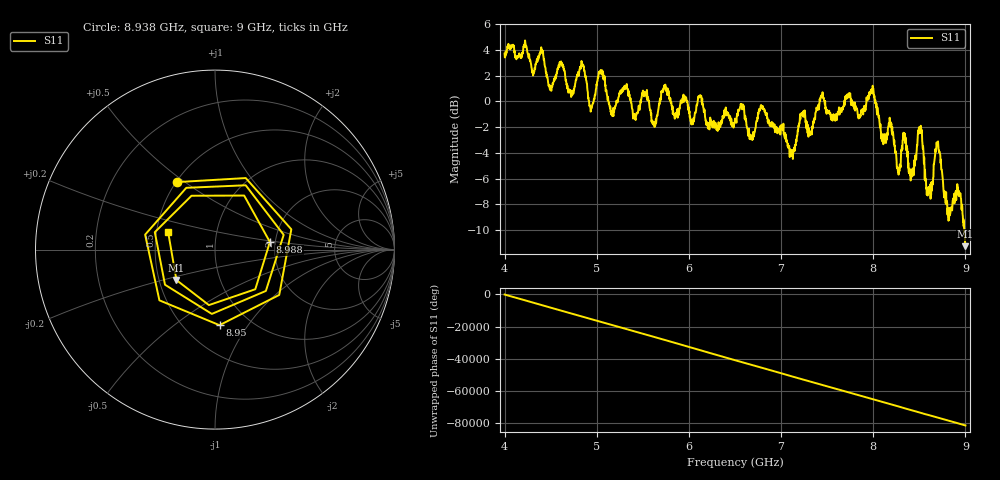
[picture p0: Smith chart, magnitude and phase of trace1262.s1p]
! Created with skrf 1.8.0 (http://scikit-rf.org).
# Hz S RI R 50.0
!freq ReS11 ImS11
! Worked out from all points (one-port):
!   1601 points, 4 GHz to 9 GHz, reference 50 ohm
!   lowest |S11| = -11.3 dB at 8.997 GHz (marker M1), VSWR 1.75, Z = 30.7 - j11.3 ohm
!   |S11| at or under -10 dB: 8.987074 GHz to end of sweep
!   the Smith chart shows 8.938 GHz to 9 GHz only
!   S11 on the Smith chart (normalised r, x): 8.938 GHz: 0.50, +0.47; 8.95 GHz: 0.73, -0.75; 8.988 GHz: 1.87, +0.17; 9 GHz: 0.58, +0.12
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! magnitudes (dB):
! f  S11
! 4 GHz  3.7
! 4.5 GHz  1.2
! 4.625 GHz  2.8
! 4.722 GHz  0.4
! 4.844 GHz  2.9
! 4.938 GHz  -0.6
! 5.044 GHz  2.5
! 5.162 GHz  -0.8
! 5.25 GHz  0.7
! 5.875 GHz  -0.6
! 6.5 GHz  -1.3
! 6.8 GHz  -0.3
! 7.125 GHz  -4.0
! 7.231 GHz  -0.9
! 7.75 GHz  0.6
! 7.991 GHz  0.6
! 8.106 GHz  -3.2
! 8.375 GHz  -3.9
! 8.425 GHz  -5.8
! 8.506 GHz  -2.1
! 8.597 GHz  -7.2
! 8.7 GHz  -3.2
! 8.809 GHz  -8.3
! 8.938 GHz  -7.3
! 8.95 GHz  -7.5
! 8.988 GHz  -10.2
! 8.997 GHz  -11.3
! 9 GHz  -11.1
